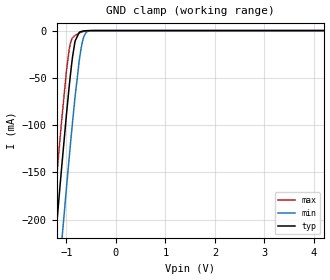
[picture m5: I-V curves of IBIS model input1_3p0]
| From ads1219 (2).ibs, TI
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|   input1_3p0 Model
[Model]   input1_3p0
Model_type   Input
Vinl = 0.9
Vinh = 2.1
|   typ   min   max
C_comp   6.57107E-13   6.13255E-13   6.94469E-13
[Model spec]
|subparameter
Vinl   0.9   0.8997   0.9003
Vinh   2.1   2.0993   2.1007
| Where Nom  PVT is Nominal Process, 3.0V, 27C
|   Fast PVT is Strong Process,  3.001V, -40C
|   Slow PVT is Weak Process,   2.999, 125C
[Voltage Range]   3   2.999   3.001
[Temperature Range]   27   125   -40
[Power Clamp Reference]   3   2.999   3.001
[GND Clamp Reference]   0   0   0
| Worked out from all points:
|   GND clamp passes 1 mA (typ) near -0.70 V on its own axis
[GND Clamp]
|   Voltage   I(typ)   I(min)   I(max)
-3V       -1.375A    -1.45A     -1.328A
-1.317V   -280.2mA   -360.4mA   -229.6mA
-1.155V   -179.9mA   -259.9mA   -129.7mA
-1.101V   -147.5mA   -227mA     -97.84mA
-1.002V   -90.18mA   -167.9mA   -44.16mA
-930mV    -52.09mA   -126.4mA   -15.99mA
-876mV    -27.77mA   -96.59mA   -7.609mA
-831mV    -12.88mA   -73.02mA   -5.371mA
-723mV    -1.396mA   -25.38mA   -2.299mA
-633mV    -290.5uA   -4.673mA   -671.7uA
-498mV    -12.62uA   -127.9uA   -23.31uA
6V        0A         0A         0A
[POWER Clamp]
|   Voltage   I(typ)   I(min)   I(max)
-3V       0A         0A         0A
0V        0A         0A         0A
6V        0A         0A         0A
